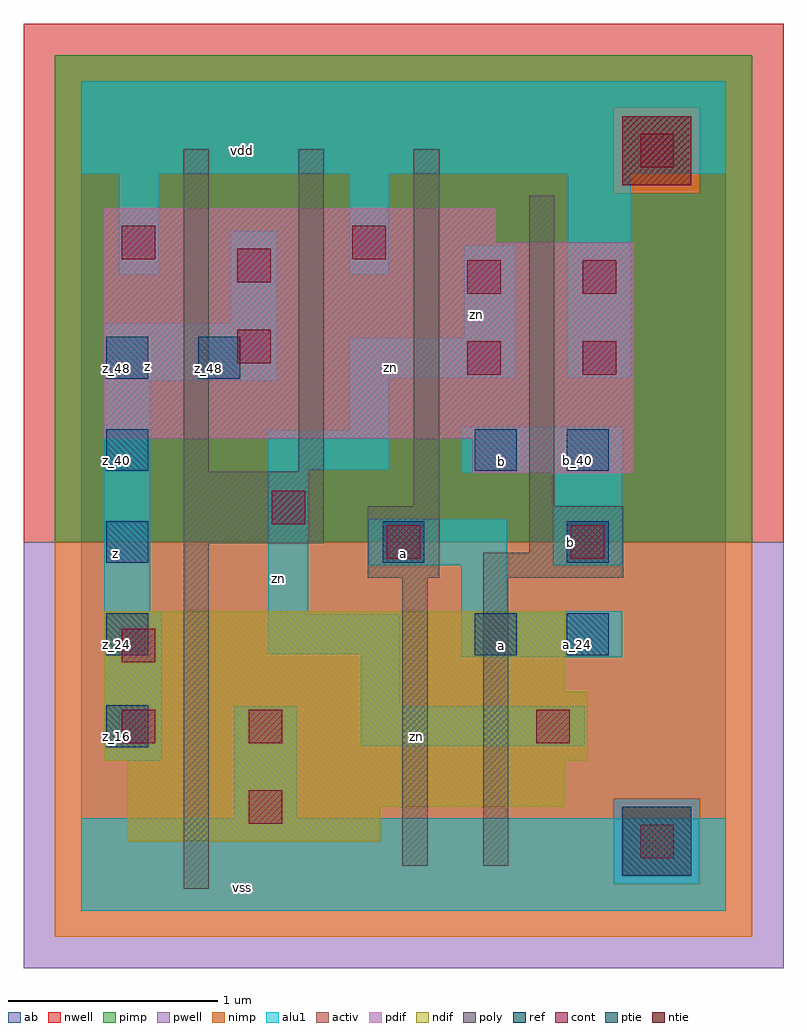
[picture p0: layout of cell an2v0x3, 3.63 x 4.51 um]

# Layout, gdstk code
import gdstk
lib = gdstk.Library(unit=1e-6, precision=2.5e-09)
def R(c, l, rs):  # rectangles x0, y0, x1, y1
    for r in rs: c.add(gdstk.rectangle(r[:2], r[2:], *l))
def A(c, l, x, y, w, h, nx, ny, dx, dy):  # array of equal rectangles
    R(c, l, [(x+i*dx, y+j*dy, x+i*dx+w, y+j*dy+h) for i in range(nx) for j in range(ny)])
ndif = (3, 0)
pdif = (4, 0)
ntie = (5, 0)
ptie = (6, 0)
ref = (24, 0)
cont = (25, 0)
pwell = (41, 0)
nwell = (42, 0)
activ = (43, 0)
pimp = (44, 0)
nimp = (45, 0)
poly = (46, 0)
alu1 = (49, 0)
ab = (63, 0)

an2v0x3 = lib.new_cell('an2v0x3')
R(an2v0x3, ndif, [(0.22,0.33,1.43,0.495), (0.22,0.495,2.31,0.715), (0.11,0.715,2.42,1.045), (0.11,1.045,2.31,1.43)])
R(an2v0x3, pdif, [(1.87,2.09,2.64,2.255), (0.11,2.255,2.64,3.19), (0.11,3.19,1.98,3.355)])
R(an2v0x3, ntie, [(2.585,3.465,2.915,3.795)])
R(an2v0x3, ptie, [(2.585,0.165,2.915,0.495)])
A(an2v0x3, ref, 0.12, 0.78, 0.2, 0.2, 1, 5, 0, 0.44)
A(an2v0x3, ref, 2.32, 1.22, 0.2, 0.2, 1, 3, 0, 0.44)
R(an2v0x3, ref, [(1.88,1.22,2.08,1.42), (1.44,1.66,1.64,1.86), (1.88,2.1,2.08,2.3), (0.56,2.54,0.76,2.74)])
R(an2v0x3, cont, [(2.67,0.25,2.83,0.41), (0.8,0.415,0.96,0.575), (0.195,0.8,0.355,0.96), (0.8,0.8,0.96,0.96), (2.175,0.8,2.335,0.96), (0.195,1.185,0.355,1.345), (1.46,1.68,1.62,1.84), (2.34,1.68,2.5,1.84), (0.91,1.845,1.07,2.005), (1.845,2.56,2.005,2.72), (2.395,2.56,2.555,2.72), (0.745,2.615,0.905,2.775), (1.845,2.945,2.005,3.105), (2.395,2.945,2.555,3.105), (0.745,3,0.905,3.16), (0.195,3.11,0.355,3.27), (1.295,3.11,1.455,3.27), (2.67,3.55,2.83,3.71)])
R(an2v0x3, pwell, [(-0.275,-0.275,3.355,1.76)])
R(an2v0x3, nwell, [(-0.275,1.76,3.355,4.235)])
R(an2v0x3, activ, [(2.585,0.165,2.915,0.495), (0.22,0.33,1.43,0.495), (0.22,0.495,2.31,0.715), (0.11,0.715,2.42,1.045), (0.11,1.045,2.31,1.43), (1.87,2.09,2.64,2.255), (0.11,2.255,2.64,3.19), (0.11,3.19,1.98,3.355), (2.585,3.465,2.915,3.795)])
R(an2v0x3, pimp, [(2.545,0.125,2.955,0.535), (-0.125,1.76,3.205,3.425), (-0.125,3.425,2.545,3.835), (2.955,3.425,3.205,3.835), (-0.125,3.835,3.205,4.085)])
R(an2v0x3, nimp, [(-0.125,-0.125,3.205,0.125), (-0.125,0.125,2.545,0.535), (2.955,0.125,3.205,0.535), (-0.125,0.535,3.205,1.76), (2.545,3.425,2.955,3.835)])
R(an2v0x3, poly, [(0.49,0.105,0.61,1.755), (1.535,0.215,1.655,1.59), (1.92,0.215,2.04,1.59), (1.37,1.59,1.71,1.93), (1.92,1.59,2.59,1.71), (2.14,1.71,2.59,1.93), (0.49,1.755,1.16,2.095), (1.59,1.93,1.71,3.635), (2.14,1.93,2.26,3.415), (0.49,2.095,0.61,3.635), (1.04,2.095,1.16,3.635)])
R(an2v0x3, alu1, [(0,0,3.08,0.44), (0.73,0.44,1.03,0.975), (0.11,0.715,0.385,1.43), (1.335,0.785,2.405,0.975), (1.335,0.975,1.525,1.225), (1.815,1.21,2.585,1.43), (0.895,1.225,1.525,1.415), (0.895,1.415,1.085,2.105), (0.11,1.43,0.33,2.53), (1.815,1.43,2.035,1.65), (1.375,1.65,2.035,1.87), (2.255,1.65,2.585,2.09), (1.815,2.09,2.585,2.31), (0.895,2.105,1.47,2.295), (1.28,2.295,1.47,2.545), (0.11,2.53,0.935,2.805), (1.28,2.545,2.075,2.735), (2.325,2.545,2.625,3.52), (1.83,2.735,2.075,3.175), (0.715,2.805,0.935,3.245), (0.18,3.04,0.37,3.52), (1.28,3.04,1.47,3.52), (0,3.52,3.08,3.96)])
R(an2v0x3, ab, [(0,0,3.08,3.96)])
an2v0x3.add(gdstk.Label('vss', (0.77,0.11), layer=49, texttype=0))
an2v0x3.add(gdstk.Label('zn', (1.6025,0.8325), layer=49, texttype=0))
an2v0x3.add(gdstk.Label('a', (2.0075,1.265), layer=49, texttype=0))
an2v0x3.add(gdstk.Label('b', (2.3375,1.76), layer=49, texttype=0))
an2v0x3.add(gdstk.Label('a', (1.54,1.705), layer=49, texttype=0))
an2v0x3.add(gdstk.Label('b', (2.0075,2.145), layer=49, texttype=0))
an2v0x3.add(gdstk.Label('zn', (0.9425,1.5875), layer=49, texttype=0))
an2v0x3.add(gdstk.Label('z', (0.165,1.705), layer=49, texttype=0))
an2v0x3.add(gdstk.Label('zn', (1.4775,2.5925), layer=49, texttype=0))
an2v0x3.add(gdstk.Label('zn', (1.89,2.845), layer=49, texttype=0))
an2v0x3.add(gdstk.Label('z', (0.315,2.5975), layer=49, texttype=0))
an2v0x3.add(gdstk.Label('vdd', (0.77,3.63), layer=49, texttype=0))
an2v0x3.add(gdstk.Label('z_48', (0.61,2.59), layer=24, texttype=0))
an2v0x3.add(gdstk.Label('a_32', (1.49,1.71), layer=24, texttype=0))
an2v0x3.add(gdstk.Label('a_24', (1.93,1.27), layer=24, texttype=0))
an2v0x3.add(gdstk.Label('b_40', (1.93,2.15), layer=24, texttype=0))
an2v0x3.add(gdstk.Label('z_16', (0.17,0.83), layer=24, texttype=0))
an2v0x3.add(gdstk.Label('z_24', (0.17,1.27), layer=24, texttype=0))
an2v0x3.add(gdstk.Label('z_32', (0.17,1.71), layer=24, texttype=0))
an2v0x3.add(gdstk.Label('z_40', (0.17,2.15), layer=24, texttype=0))
an2v0x3.add(gdstk.Label('z_48', (0.17,2.59), layer=24, texttype=0))
an2v0x3.add(gdstk.Label('a_24', (2.37,1.27), layer=24, texttype=0))
an2v0x3.add(gdstk.Label('b_32', (2.37,1.71), layer=24, texttype=0))
an2v0x3.add(gdstk.Label('b_40', (2.37,2.15), layer=24, texttype=0))

lib.write_gds('an2v0x3.gds')
